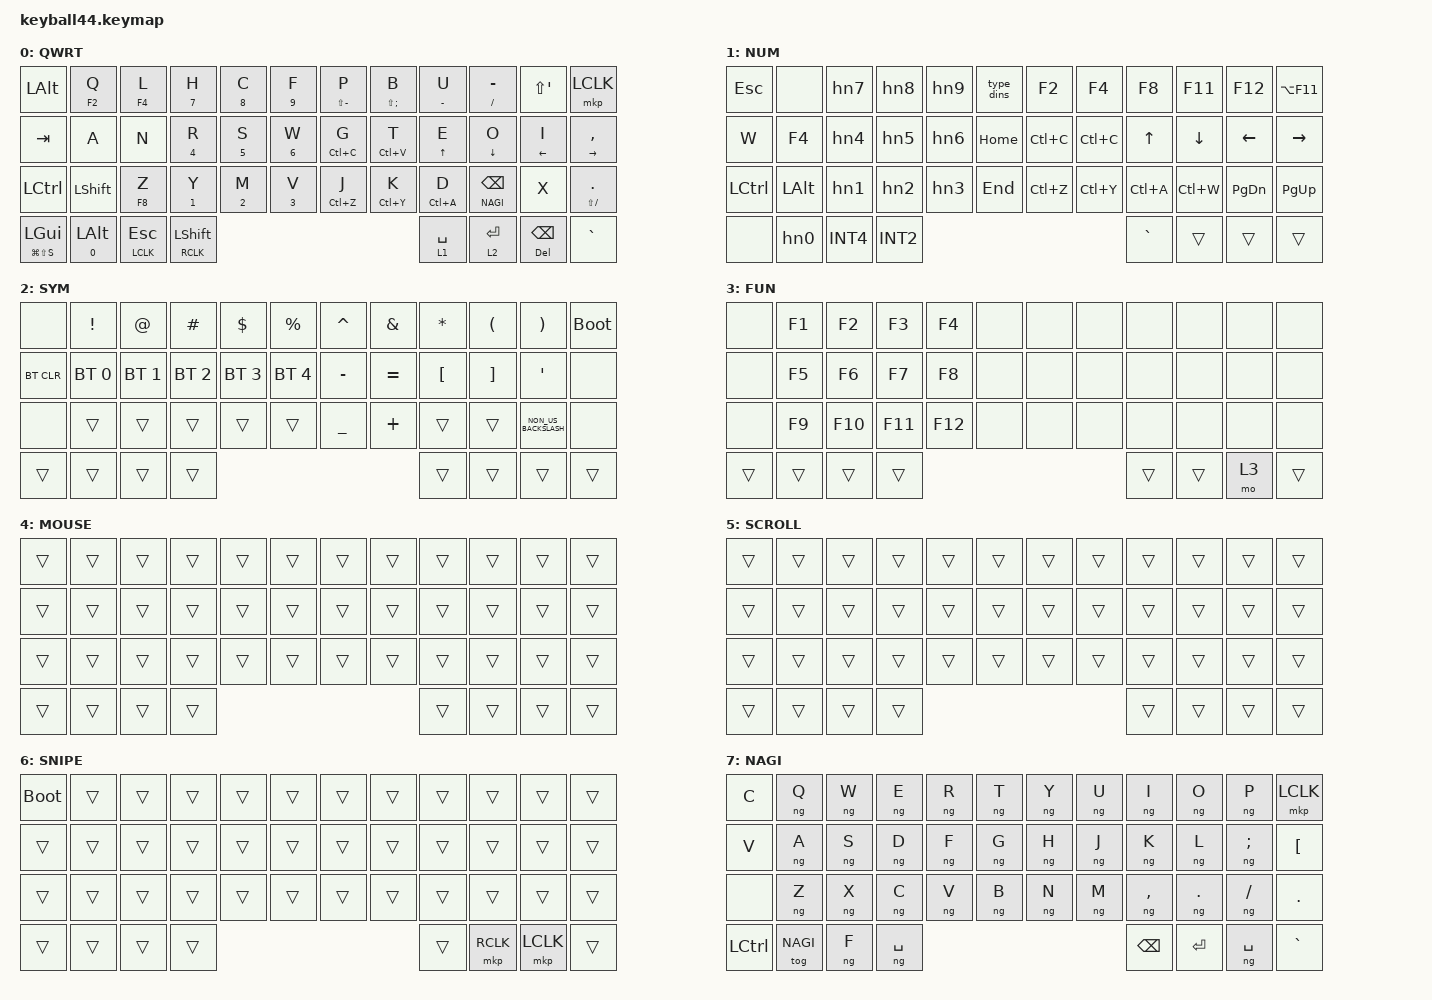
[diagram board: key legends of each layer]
#define DEFAULT 0
#define NUM     1
#define SYM     2
#define FUN     3
#define MOUSE   4
#define SCROLL  5
#define SNIPE   6
#define NAGI    7

#include <behaviors/mouse_keys.dtsi>
#include <dt-bindings/zmk/mouse.h>
#include <behaviors.dtsi>
#include <dt-bindings/zmk/bt.h>
#include <dt-bindings/zmk/keys.h>
#include <dt-bindings/zmk/pointing.h>
#include <behaviors/naginata.dtsi>

&lt {
    tapping-term-ms = <240>;
    flavor = "balanced";
    quick-tap-ms = <150>;
};

&mt {
    tapping-term-ms = <200>;
    flavor = "tap-preferred";
    quick-tap-ms = <150>;
};

&caps_word { continue-list = <UNDERSCORE MINUS>; };

/ {
    macros {
        type_dins: type_dins {
            compatible = "zmk,behavior-macro";
            #binding-cells = <0>;
            bindings = <&kp INT5 &kp LS(D) &kp I &kp N &kp S &kp N1 &kp N0 &kp N2 &kp N3 &kp N6>;
        };

        /* 半角数字マクロ: INT5(無変換)でIMEを半角英数に切替えてから数字入力 */

        hn0: halfwidth_num_0 {
            compatible = "zmk,behavior-macro";
            #binding-cells = <0>;
            bindings = <&kp INT5 &kp N0>;
        };

        hn1: halfwidth_num_1 {
            compatible = "zmk,behavior-macro";
            #binding-cells = <0>;
            bindings = <&kp INT5 &kp N1>;
        };

        hn2: halfwidth_num_2 {
            compatible = "zmk,behavior-macro";
            #binding-cells = <0>;
            bindings = <&kp INT5 &kp N2>;
        };

        hn3: halfwidth_num_3 {
            compatible = "zmk,behavior-macro";
            #binding-cells = <0>;
            bindings = <&kp INT5 &kp N3>;
        };

        hn4: halfwidth_num_4 {
            compatible = "zmk,behavior-macro";
            #binding-cells = <0>;
            bindings = <&kp INT5 &kp N4>;
        };

        hn5: halfwidth_num_5 {
            compatible = "zmk,behavior-macro";
            #binding-cells = <0>;
            bindings = <&kp INT5 &kp N5>;
        };

        hn6: halfwidth_num_6 {
            compatible = "zmk,behavior-macro";
            #binding-cells = <0>;
            bindings = <&kp INT5 &kp N6>;
        };

        hn7: halfwidth_num_7 {
            compatible = "zmk,behavior-macro";
            #binding-cells = <0>;
            bindings = <&kp INT5 &kp N7>;
        };

        hn8: halfwidth_num_8 {
            compatible = "zmk,behavior-macro";
            #binding-cells = <0>;
            bindings = <&kp INT5 &kp N8>;
        };

        hn9: halfwidth_num_9 {
            compatible = "zmk,behavior-macro";
            #binding-cells = <0>;
            bindings = <&kp INT5 &kp N9>;
        };
    };

    behaviors {
        cmqus: comma_question {
            compatible = "zmk,behavior-mod-morph";
            label = "COMMA_QUESTION";
            #binding-cells = <0>;
            bindings = <&kp COMMA>, <&kp QUESTION>;

            mods = <(MOD_LSFT|MOD_RSFT)>;
        };

        dtsmi: dot_semi {
            compatible = "zmk,behavior-mod-morph";
            label = "DOT_SEMI";
            #binding-cells = <0>;
            bindings = <&kp DOT>, <&kp SEMI>;

            mods = <(MOD_LSFT|MOD_RSFT)>;
        };

        /* キー/キー ホールドタップ (長押し=第1引数, タップ=第2引数) */

        ht: hold_tap_kp {
            compatible = "zmk,behavior-hold-tap";
            label = "HT_KP";
            #binding-cells = <2>;
            flavor = "balanced";
            tapping-term-ms = <280>;
            bindings = <&kp>, <&kp>;
        };

        /* ROW2専用: 遅めのホールドタップ (長押し判定を遅く) */

        ht_slow: hold_tap_slow {
            compatible = "zmk,behavior-hold-tap";
            label = "HT_SLOW";
            #binding-cells = <2>;
            flavor = "balanced";
            tapping-term-ms = <400>;
            bindings = <&kp>, <&kp>;
        };

        /* マウスクリック/キー ホールドタップ (長押し=マウスボタン, タップ=キー) */

        ht_mkp: hold_tap_mkp {
            compatible = "zmk,behavior-hold-tap";
            label = "HT_MKP";
            #binding-cells = <2>;
            flavor = "balanced";
            tapping-term-ms = <280>;
            bindings = <&mkp>, <&kp>;
        };

        /* レイヤートグル/キー ホールドタップ (長押し=レイヤートグル, タップ=キー) */
        ht_tog: hold_tap_toggle {
            compatible = "zmk,behavior-hold-tap";
            label = "HT_TOG";
            #binding-cells = <2>;
            flavor = "balanced";
            tapping-term-ms = <300>;
            bindings = <&tog>, <&kp>;
        };

        /* 9/マクロ タップダンス (1回=9, 2回=Dins10236マクロ) */

        td_9_dins: tap_dance_9_dins {
            compatible = "zmk,behavior-tap-dance";
            label = "TD_9_DINS";
            #binding-cells = <0>;
            tapping-term-ms = <300>;
            bindings = <&kp N9>, <&type_dins>;
        };
    };

    combos {
        compatible = "zmk,combos";

        default_bootloader_r {
            bindings = <&bootloader>;
            key-positions = <10 11>;
        };

        default_bootloader_l {
            bindings = <&bootloader>;
            key-positions = <0 1>;
        };
    };

    keymap {
        compatible = "zmk,keymap";

        /* ===== LAYER 0: DEFAULT ===== */

        default_layer {
            label = "QWRT";
            bindings = <
&kp LALT            &ht F2 Q        &ht F4 L          &ht N7 H            &ht N8 C     &ht N9 F                   &ht LS(MINUS) P  &ht LS(SEMI) B  &ht MINUS U  &ht FSLH MINUS   &kp LS(SQT)  &mkp LCLK
&kp TAB             &kp A            &kp N             &ht_slow N4 R       &ht_slow N5 S  &ht_slow N6 W                &ht_slow LC(C) G   &ht_slow LC(V) T  &ht_slow UP E  &ht_slow DOWN O    &ht_slow LEFT I  &ht_slow RIGHT COMMA
&kp LCTRL           &kp LEFT_SHIFT  &ht F8 Z          &ht N1 Y            &ht N2 M     &ht N3 V                   &ht LC(Z) J      &ht LC(Y) K     &ht LC(A) D  &ht_tog NAGI BSPC  &kp X        &ht LS(FSLH) DOT
&ht LG(LS(S)) LGUI  &ht N0 LALT     &ht_mkp LCLK ESC  &ht_mkp RCLK LSHFT  &lt 1 SPACE                &lt 2 ENTER  &ht DEL BSPC                                                                &kp GRAVE
            >;
        };

        /*
         * ===== LAYER 1: NUMBER (変更済み) =====
         *
         * 左手:
         * ┌──────┬──────┬──────┬──────┬──────┬──────────┐
         * │ ESC  │      │  7   │  8   │  9   │ マクロ   │
         * ├──────┼──────┼──────┼──────┼──────┼──────────┤
         * │  W   │ F4   │  4   │  5   │  6   │  HOME    │
         * ├──────┼──────┼──────┼──────┼──────┼──────────┤
         * │ CTRL │ ALT  │  1   │  2   │  3   │  END     │
         * └──────┴──────┼──────┼──────┼──────┼──────────┘
         *               │  0   │      │      │          │
         *               │ 変換 │ひらカタ│半角全角│
         *
         * 右手:
         * ┌──────┬──────┬──────┬──────┬──────┬─────────┐
         * │ F2   │ F4   │  F8  │ F11  │ F12  │ALT+F11  │
         * ├──────┼──────┼──────┼──────┼──────┼─────────┤
         * │CTR+C │CTR+C │  ↑   │  ↓   │  ←   │   →     │
         * ├──────┼──────┼──────┼──────┼──────┼─────────┤
         * │CTR+Z │CTR+Y │CTR+A │CTR+W │PGDN  │  PGUP   │
         * └──────┴──────┼──────┼──────┤      └─────────┘
         *               │      │      │
         */

        number_layer {
            label = "NUM";
            bindings = <
&kp ESC    &none     &hn7      &hn8      &hn9       &type_dins               &kp F2       &kp F4       &kp F8       &kp F11      &kp F12      &kp LA(F11)
&kp W      &kp F4    &hn4      &hn5      &hn6       &kp HOME                 &kp LC(C)    &kp LC(C)    &kp UP       &kp DOWN     &kp LEFT     &kp RIGHT
&kp LCTRL  &kp LALT  &hn1      &hn2      &hn3       &kp END                  &kp LC(Z)    &kp LC(Y)    &kp LC(A)    &kp LC(W)    &kp PG_DN    &kp PG_UP
&none      &hn0      &kp INT4  &kp INT2  &kp GRAVE                   &trans  &trans                                                            &trans
            >;
        };

        /* ===== LAYER 2: SYMBOL (変更なし) ===== */

        symbol_layer {
            label = "SYM";
            bindings = <
&none       &kp EXCLAMATION  &kp AT_SIGN   &kp HASH      &kp DOLLAR    &kp PERCENT               &kp CARET       &kp AMPERSAND  &kp ASTERISK      &kp LEFT_PARENTHESIS  &kp RIGHT_PARENTHESIS  &bootloader
&bt BT_CLR  &bt BT_SEL 0     &bt BT_SEL 1  &bt BT_SEL 2  &bt BT_SEL 3  &bt BT_SEL 4              &kp MINUS       &kp EQUAL      &kp LEFT_BRACKET  &kp RIGHT_BRACKET     &kp SQT                &none
&none       &trans           &trans        &trans        &trans        &trans                    &kp UNDERSCORE  &kp PLUS       &trans            &trans                &kp NON_US_BACKSLASH   &none
&trans      &trans           &trans        &trans        &trans                          &trans  &trans                                                                                        &trans
            >;
        };

        /* ===== LAYER 3: FUNCTION (変更なし) ===== */

        function_layer {
            label = "FUN";
            bindings = <
&none   &kp F1  &kp F2   &kp F3   &kp F4   &none              &none  &none  &none  &none  &none  &none
&none   &kp F5  &kp F6   &kp F7   &kp F8   &none              &none  &none  &none  &none  &none  &none
&none   &kp F9  &kp F10  &kp F11  &kp F12  &none              &none  &none  &none  &none  &none  &none
&trans  &trans  &trans   &trans   &trans              &trans  &mo 3                              &trans
            >;
        };

        /*
         * ===== LAYER 4: MOUSE (変更なし: 全キーを&transに) =====
         * トラックボール接触によるレイヤー切替を無効化
         */

        mouse_layer {
            label = "MOUSE";
            bindings = <
&trans  &trans  &trans  &trans  &trans  &trans              &trans  &trans  &trans  &trans  &trans  &trans
&trans  &trans  &trans  &trans  &trans  &trans              &trans  &trans  &trans  &trans  &trans  &trans
&trans  &trans  &trans  &trans  &trans  &trans              &trans  &trans  &trans  &trans  &trans  &trans
&trans  &trans  &trans  &trans  &trans              &trans  &trans                                  &trans
            >;
        };

        /* ===== LAYER 5: SCROLL (変更なし) ===== */

        scroll_layer {
            label = "SCROLL";
            bindings = <
&trans  &trans  &trans  &trans  &trans  &trans              &trans  &trans  &trans  &trans  &trans  &trans
&trans  &trans  &trans  &trans  &trans  &trans              &trans  &trans  &trans  &trans  &trans  &trans
&trans  &trans  &trans  &trans  &trans  &trans              &trans  &trans  &trans  &trans  &trans  &trans
&trans  &trans  &trans  &trans  &trans              &trans  &trans                                  &trans
            >;
        };

        /* ===== LAYER 6: SNIPE (変更なし) ===== */

        snipe_layer {
            label = "SNIPE";
            bindings = <
&bootloader  &trans  &trans  &trans  &trans  &trans                 &trans     &trans  &trans  &trans  &trans  &trans
&trans       &trans  &trans  &trans  &trans  &trans                 &trans     &trans  &trans  &trans  &trans  &trans
&trans       &trans  &trans  &trans  &trans  &trans                 &trans     &trans  &trans  &trans  &trans  &trans
&trans       &trans  &trans  &trans  &trans              &mkp RCLK  &mkp LCLK                                  &trans
            >;
        };

        /* ===== LAYER 7: NAGINATA (薙刀式) =====
         * zmk-naginata モジュールが同時打鍵・濁音・拗音等を内部処理する。
         *
         * 単打面:
         *   ヴ(Q) き(W) て(E) し(R) [T]  |  [Y] る(U) す(I) へ(O) [P]
         *   ろ(A) け(S) と(D) か(F) っ(G) |  く(H) あ(J) い(K) う(L) ー(;)
         *   ほ(Z) ひ(X) は(C) こ(V) そ(B) |  た(N) な(M) ん(,) ら(.) れ(/)
         *
         * Row0左端=C, Row1左端=V (CTRL+C/Vコピペ用)
         * Row3左端=CTRL, SPACEを左にずらしtog NAGIを配置
         * Row3右側: BSPC/ENTER入替, 右端=日本語切替
         */
        naginata_layer {
            label = "NAGI";
            bindings = <
&kp C      &ng Q      &ng W      &ng E      &ng R      &ng T                    &ng Y      &ng U      &ng I        &ng O        &ng P      &mkp LCLK
&kp V      &ng A      &ng S      &ng D      &ng F      &ng G                    &ng H      &ng J      &ng K        &ng L        &ng SEMI   &kp LBKT
&none      &ng Z      &ng X      &ng C      &ng V      &ng B                    &ng N      &ng M      &ng COMMA    &ng DOT      &ng SLASH  &kp DOT
&kp LCTRL  &tog NAGI  &ng F      &ng SPACE  &kp BSPC                 &kp ENTER  &ng SPACE                                                  &kp GRAVE
            >;
        };
    };
};
